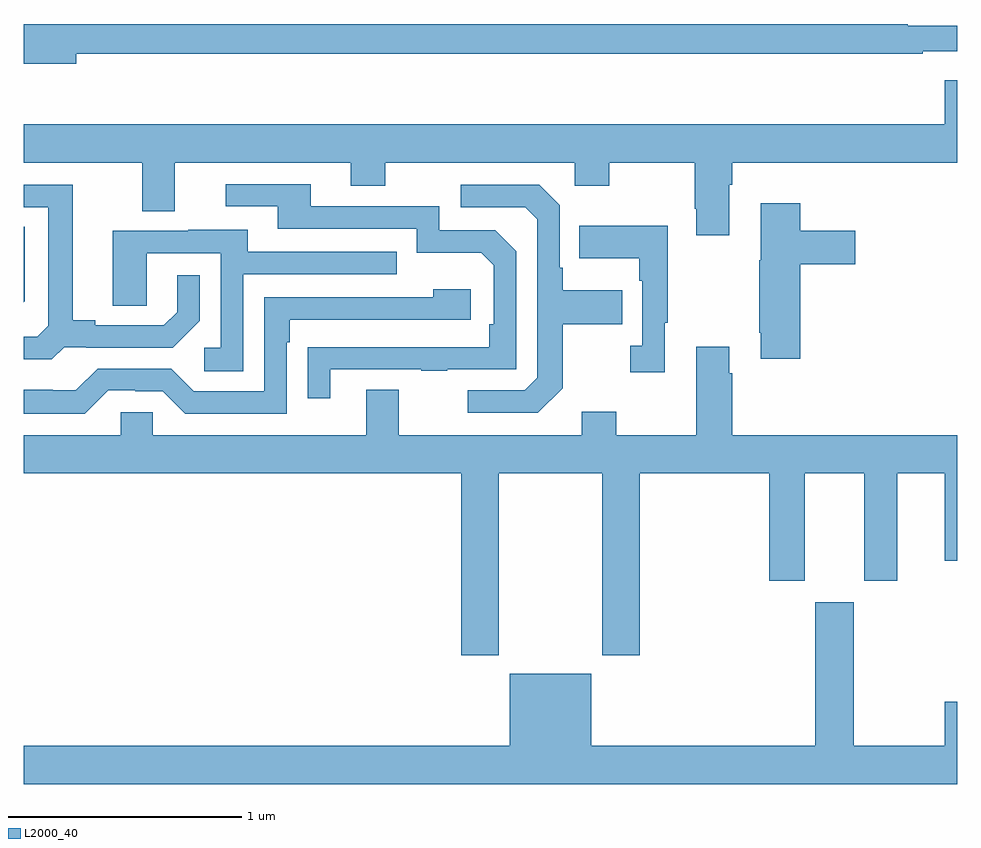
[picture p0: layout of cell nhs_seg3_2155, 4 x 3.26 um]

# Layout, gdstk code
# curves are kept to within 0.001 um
import gdstk
lib = gdstk.Library(unit=1e-6, precision=1e-09)
def P(c, l, *ps):  # polygons
    for p in ps: c.add(gdstk.Polygon(p, *l))
L2000_40 = (2000, 40)

nhs_seg3_2155 = lib.new_cell('nhs_seg3_2155')
P(nhs_seg3_2155, L2000_40, [(221.224,748.002),(224.852,748.002),(224.852,748.014),(225,748.014),(225,748.123),(224.789,748.123),(224.789,748.13),(221,748.13),(221,747.959),(221.224,747.959)],
  [(224.023,747.44),(224.036,747.44),(224.036,747.536),(225,747.536),(225,747.889),(224.948,747.889),(224.948,747.7),(221,747.7),(221,747.536),(221.507,747.536),(221.507,747.328),(221.647,747.328),(221.647,747.536),(222.401,747.536),(222.401,747.437),(222.549,747.437),(222.549,747.536),(223.362,747.536),(223.362,747.437),(223.509,747.437),(223.509,747.536),(223.876,747.536),(223.876,747.337),(223.883,747.337),(223.883,747.225),(224.023,747.225)],
  [(222.313,746.649),(222.703,746.649),(222.703,746.644),(222.815,746.644),(222.815,746.649),(223.11,746.649),(223.11,747.156),(223.02,747.246),(222.78,747.246),(222.78,747.348),(222.229,747.348),(222.229,747.444),(221.865,747.444),(221.865,747.348),(222.089,747.348),(222.089,747.252),(222.684,747.252),(222.684,747.149),(222.961,747.149),(223.014,747.096),(223.014,746.842),(222.994,746.842),(222.994,746.745),(222.217,746.744),(222.217,746.526),(222.313,746.526)],
  [(221.172,746.745),(221.266,746.745),(221.266,746.742),(221.638,746.742),(221.754,746.858),(221.754,747.052),(221.657,747.052),(221.657,746.895),(221.6,746.838),(221.305,746.838),(221.305,746.861),(221.209,746.861),(221.209,747.441),(221,747.441),(221,747.345),(221.105,747.345),(221.105,746.837),(221.058,746.79),(221,746.79),(221,746.693),(221.12,746.693)],
  [(223.309,746.569),(223.309,746.842),(223.565,746.842),(223.565,746.989),(223.309,746.989),(223.309,747.085),(223.296,747.085),(223.296,747.354),(223.209,747.441),(222.873,747.441),(222.873,747.345),(223.149,747.345),(223.2,747.294),(223.2,746.613),(223.146,746.559),(222.903,746.559),(222.903,746.463),(223.203,746.463)],
  [(224.327,747.101),(224.563,747.101),(224.563,747.243),(224.327,747.243),(224.327,747.361),(224.159,747.361),(224.159,747.117),(224.152,747.117),(224.152,746.806),(224.159,746.806),(224.159,746.694),(224.327,746.694)],
  [(223.747,746.849),(223.759,746.849),(223.759,747.265),(223.381,747.265),(223.381,747.125),(223.638,747.125),(223.638,747.029),(223.65,747.029),(223.65,746.75),(223.599,746.75),(223.599,746.637),(223.747,746.637)],
  [(221.004,746.942),(221.004,747.26),(221,747.26),(221,746.938)],
  [(221.94,747.057),(222.599,747.057),(222.599,747.153),(221.959,747.153),(221.959,747.247),(221.705,747.247),(221.705,747.243),(221.381,747.243),(221.381,746.923),(221.526,746.923),(221.526,747.147),(221.844,747.147),(221.844,746.742),(221.772,746.742),(221.772,746.641),(221.94,746.641)],
  [(221.361,746.559),(221.477,746.559),(221.477,746.556),(221.595,746.556),(221.691,746.46),(222.126,746.46),(222.126,746.765),(222.139,746.765),(222.139,746.862),(222.916,746.862),(222.916,746.992),(222.755,746.992),(222.755,746.958),(222.03,746.958),(222.03,746.556),(221.727,746.556),(221.631,746.652),(221.316,746.652),(221.223,746.559),(221.123,746.559),(221.123,746.563),(221,746.563),(221,746.459),(221.261,746.459)],
  [(223.035,746.204),(223.48,746.204),(223.48,745.425),(223.64,745.425),(223.64,746.204),(224.195,746.204),(224.195,745.743),(224.347,745.743),(224.347,746.204),(224.603,746.204),(224.603,745.743),(224.743,745.743),(224.743,746.204),(224.948,746.204),(224.948,745.83),(225,745.83),(225,746.368),(224.036,746.368),(224.036,746.633),(224.023,746.633),(224.023,746.746),(223.883,746.746),(223.883,746.368),(223.539,746.368),(223.539,746.467),(223.391,746.467),(223.391,746.368),(222.607,746.368),(222.607,746.563),(222.467,746.563),(222.467,746.368),(221.553,746.368),(221.553,746.466),(221.415,746.466),(221.415,746.368),(221,746.368),(221,746.204),(222.875,746.204),(222.875,745.425),(223.035,745.425)],
  [(225,745.225),(224.948,745.225),(224.948,745.036),(224.557,745.036),(224.557,745.651),(224.393,745.651),(224.393,745.036),(223.432,745.036),(223.432,745.345),(223.082,745.345),(223.082,745.036),(221,745.036),(221,744.872),(225,744.872)])

lib.write_gds('nhs_seg3_2155.gds')
